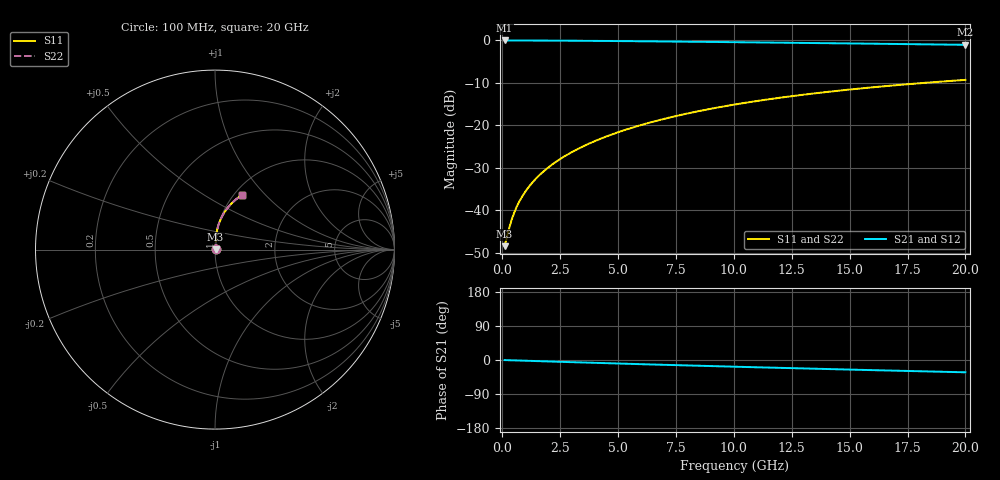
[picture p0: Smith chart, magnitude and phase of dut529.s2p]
! Touchstone file exported from HFSS 2024.1.0
!  File:  C:/UserFiles/LocalFiles/RDL_TSV_Batchsim/temp_RDL_top_529_1779680127.aedt
!  Generated:  11:37:44 AM May 25, 2026
!  Design:  RDL_top
!  Project:  temp_RDL_top_529_1779680127
!  Setup:  Setup1
!  Solution:  Sweep
! Variables:
!  dtsv = 10.80580581um
!  hbump = 3um
!  htsv = 62.24um
!  ldown = 100um
!  lrdl = 401.06um
!  p = 40
!  p1 = 57.83um
!  rhole = 1um
!  t = 450um
!  tdown = 3.915915916um
!  trdl = 2.04um
!  wdown = 15.38538539um
!  wrdl = 23.46um
# GHz S MA R 50.000000
! Terminal data exported
! Port[1] = Box2_T1
! Port[2] = Box2_T2
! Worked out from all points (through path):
!   200 points, 100 MHz to 20 GHz, reference 50 ohm
!   highest |S21| = -0.03 dB at 100 MHz (marker M1); lowest = -1.1 dB at 20 GHz (marker M2)
!   group delay of S21, straight-line fit = 4.47 ps
!   lowest |S11| = -48.5 dB at 100 MHz (marker M3), VSWR 1.01, Z = 50.3 + j0.173 ohm
!   |S11| at or under -10 dB: start of sweep to 18.29 GHz
!   |S22| runs from -48.5 to -9.3 dB; largest |S21 - S12| = 2.6e-15
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0.1  0.003755 27.2  0.9967 -0.2  0.9967 -0.2  0.003755 27.2
! Gamma 0 0 0 0
! Port Impedance 50 0 50 0
0.3  0.006165 55.4  0.9964 -0.6  0.9964 -0.6  0.006165 55.4
0.4  0.007612 61.7  0.9963 -0.8  0.9963 -0.8  0.007612 61.7
0.5  0.009093 65.8  0.9961 -1.0  0.9961 -1.0  0.009094 65.8
0.6  0.01058 68.8  0.9959 -1.2  0.9959 -1.2  0.01058 68.8
0.7  0.01208 71.1  0.9957 -1.4  0.9957 -1.4  0.01208 71.1
0.9  0.01507 74.4  0.9954 -1.8  0.9954 -1.8  0.01507 74.4
1.2  0.0196 77.7  0.9948 -2.3  0.9948 -2.3  0.0196 77.7
1.7  0.02728 80.9  0.9937 -3.3  0.9937 -3.3  0.02728 80.9
2.2  0.03515 82.8  0.9923 -4.2  0.9923 -4.2  0.03515 82.8
2.8  0.04484 84.1  0.9903 -5.3  0.9903 -5.3  0.04484 84.1
3.5  0.05649 84.9  0.9876 -6.6  0.9876 -6.6  0.05648 84.9
4.2  0.06847 85.2  0.9845 -7.9  0.9845 -7.9  0.06846 85.1
5  0.08254 85.0  0.9806 -9.3  0.9806 -9.3  0.08252 85.0
5.9  0.09875 84.5  0.9759 -10.9  0.9759 -10.9  0.09872 84.4
6.8  0.1153 83.6  0.9708 -12.4  0.9708 -12.4  0.1152 83.6
8.4  0.1449 81.6  0.9614 -15.1  0.9614 -15.1  0.1449 81.6
10.1  0.1764 79.1  0.951 -17.8  0.951 -17.8  0.1764 79.1
11.7  0.2056 76.6  0.941 -20.3  0.941 -20.3  0.2055 76.5
13.4  0.2358 73.8  0.93 -22.9  0.93 -22.9  0.2356 73.8
16.7  0.2912 68.5  0.908 -27.8  0.908 -27.8  0.291 68.5
20  0.3419 63.5  0.8853 -32.5  0.8853 -32.5  0.3417 63.5
